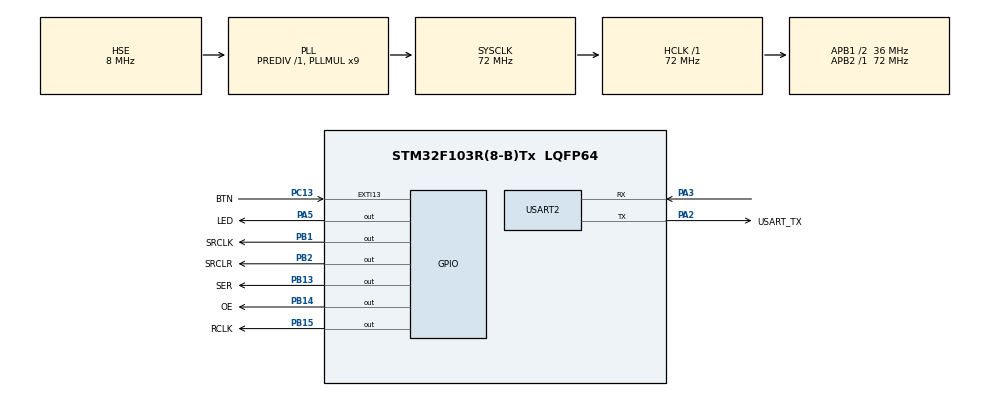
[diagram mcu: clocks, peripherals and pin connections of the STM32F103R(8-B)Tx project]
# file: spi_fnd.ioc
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Mcu.Family=STM32F1
Mcu.Name=STM32F103R(8-B)Tx
Mcu.Package=LQFP64
NVIC.EXTI15_10_IRQn=true\:0\:0\:false\:false\:true\:true\:true\:true
NVIC.PriorityGroup=NVIC_PRIORITYGROUP_4
NVIC.USART2_IRQn=true\:0\:0\:false\:false\:true\:true\:true\:true
PA13.GPIO_Label=TMS
PA13.Mode=Serial_Wire
PA13.Signal=SYS_JTMS-SWDIO
PA14.GPIO_Label=TCK
PA14.Mode=Serial_Wire
PA14.Signal=SYS_JTCK-SWCLK
PA2.GPIO_Label=USART_TX
PA2.GPIO_Mode=GPIO_MODE_AF_PP
PA2.GPIO_PuPd=GPIO_NOPULL
PA2.GPIO_Speed=GPIO_SPEED_FREQ_LOW
PA2.Mode=Asynchronous
PA2.Signal=USART2_TX
PA3.Mode=Asynchronous
PA3.Signal=USART2_RX
PA5.GPIO_Label=LED
PA5.GPIO_ModeDefaultOutputPP=GPIO_MODE_OUTPUT_PP
PA5.GPIO_PuPd=GPIO_NOPULL
PA5.GPIO_Speed=GPIO_SPEED_FREQ_LOW
PA5.Signal=GPIO_Output
PB1.GPIO_Label=SRCLK
PB1.Signal=GPIO_Output
PB13.GPIO_Label=SER
PB13.Signal=GPIO_Output
PB14.GPIO_Label=OE
PB14.PinState=GPIO_PIN_RESET
PB14.Signal=GPIO_Output
PB15.GPIO_Label=RCLK
PB15.PinState=GPIO_PIN_RESET
PB15.Signal=GPIO_Output
PB2.GPIO_Label=SRCLR
PB2.PinState=GPIO_PIN_SET
PB2.Signal=GPIO_Output
PB3.GPIO_Label=SWO
PB3.Signal=SYS_JTDO-TRACESWO
PC13-TAMPER-RTC.GPIO_Label=BTN
PC13-TAMPER-RTC.GPIO_PuPd=GPIO_NOPULL
PC13-TAMPER-RTC.Signal=GPXTI13
PC14-OSC32_IN.Signal=RCC_OSC32_IN
PC15-OSC32_OUT.Signal=RCC_OSC32_OUT
PD0-OSC_IN.Mode=HSE-External-Oscillator
PD0-OSC_IN.Signal=RCC_OSC_IN
PD1-OSC_OUT.Mode=HSE-External-Oscillator
PD1-OSC_OUT.Signal=RCC_OSC_OUT
ProjectManager.HeapSize=0x200
ProjectManager.StackSize=0x400
ProjectManager.TargetToolchain=STM32CubeIDE
RCC.AHBFreq_Value=72000000
RCC.APB1CLKDivider=RCC_HCLK_DIV2
RCC.APB1Freq_Value=36000000
RCC.APB1TimFreq_Value=72000000
RCC.APB2Freq_Value=72000000
RCC.APB2TimFreq_Value=72000000
RCC.HCLKFreq_Value=72000000
RCC.PLLMUL=RCC_PLL_MUL9
RCC.PLLSourceVirtual=RCC_PLLSOURCE_HSE
RCC.PREFETCH_ENABLE=1
RCC.RTCClockSelection=RCC_RTCCLKSOURCE_LSE
RCC.SYSCLKFreq_VALUE=72000000
RCC.SYSCLKSource=RCC_SYSCLKSOURCE_PLLCLK
RCC.USBFreq_Value=72000000
USART2.VirtualMode=VM_ASYNC
board=NUCLEO-F103RB

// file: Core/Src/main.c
/* USER CODE BEGIN Header */
/**
  ******************************************************************************
  * @file           : main.c
  * @brief          : Main program body
  ******************************************************************************
  * @attention
  *
  * Copyright (c) 2025 STMicroelectronics.
  * All rights reserved.
  *
  * This software is licensed under terms that can be found in the LICENSE file
  * in the root directory of this software component.
  * If no LICENSE file comes with this software, it is provided AS-IS.
  *
  ******************************************************************************
  */
/* USER CODE END Header */
#include "main.h"

UART_HandleTypeDef huart2;

/* USER CODE BEGIN PV */
static const uint8_t digitCode[10] = {
  0x3F, // 0
  0x06, // 1
  0x5B, // 2
  0x4F, // 3
  0x66, // 4
  0x6D, // 5
  0x7D, // 6
  0x07, // 7
  0x7F, // 8
  0x6F  // 9
};
/* USER CODE END PV */

void SystemClock_Config(void);
static void MX_GPIO_Init(void);
static void MX_USART2_UART_Init(void);
/* USER CODE BEGIN PFP */
void ShiftReg_Write(uint8_t data);
/* USER CODE END PFP */

int main(void)
{

  /* MCU Configuration--------------------------------------------------------*/

  /* Reset of all peripherals, Initializes the Flash interface and the Systick. */
  HAL_Init();

  /* Configure the system clock */
  SystemClock_Config();

  /* Initialize all configured peripherals */
  MX_GPIO_Init();
  MX_USART2_UART_Init();
  /* USER CODE BEGIN 2 */
  HAL_GPIO_WritePin(OE_GPIO_Port, OE_Pin, GPIO_PIN_RESET);
  HAL_GPIO_WritePin(SRCLR_GPIO_Port, SRCLR_Pin, GPIO_PIN_SET);
  /* USER CODE END 2 */

  /* Infinite loop */
  while (1)
  {
	  for (uint8_t num = 0; num < 10; num++)
	  {
		  ShiftReg_Write(digitCode[num]);
		  HAL_Delay(500);
	  }
  }
}

void SystemClock_Config(void)
{
  RCC_OscInitTypeDef RCC_OscInitStruct = {0};
  RCC_ClkInitTypeDef RCC_ClkInitStruct = {0};

  /** Initializes the RCC Oscillators according to the specified parameters
  * in the RCC_OscInitTypeDef structure.
  */
  RCC_OscInitStruct.OscillatorType = RCC_OSCILLATORTYPE_HSE;
  RCC_OscInitStruct.HSEState = RCC_HSE_ON;
  RCC_OscInitStruct.HSEPredivValue = RCC_HSE_PREDIV_DIV1;
  RCC_OscInitStruct.HSIState = RCC_HSI_ON;
  RCC_OscInitStruct.PLL.PLLState = RCC_PLL_ON;
  RCC_OscInitStruct.PLL.PLLSource = RCC_PLLSOURCE_HSE;
  RCC_OscInitStruct.PLL.PLLMUL = RCC_PLL_MUL9;
  if (HAL_RCC_OscConfig(&RCC_OscInitStruct) != HAL_OK)
  {
    Error_Handler();
  }

  /** Initializes the CPU, AHB and APB buses clocks
  */
  RCC_ClkInitStruct.ClockType = RCC_CLOCKTYPE_HCLK|RCC_CLOCKTYPE_SYSCLK
                              |RCC_CLOCKTYPE_PCLK1|RCC_CLOCKTYPE_PCLK2;
  RCC_ClkInitStruct.SYSCLKSource = RCC_SYSCLKSOURCE_PLLCLK;
  RCC_ClkInitStruct.AHBCLKDivider = RCC_SYSCLK_DIV1;
  RCC_ClkInitStruct.APB1CLKDivider = RCC_HCLK_DIV2;
  RCC_ClkInitStruct.APB2CLKDivider = RCC_HCLK_DIV1;

  if (HAL_RCC_ClockConfig(&RCC_ClkInitStruct, FLASH_LATENCY_2) != HAL_OK)
  {
    Error_Handler();
  }
}

static void MX_USART2_UART_Init(void)
{

  huart2.Instance = USART2;
  huart2.Init.BaudRate = 115200;
  huart2.Init.WordLength = UART_WORDLENGTH_8B;
  huart2.Init.StopBits = UART_STOPBITS_1;
  huart2.Init.Parity = UART_PARITY_NONE;
  huart2.Init.Mode = UART_MODE_TX_RX;
  huart2.Init.HwFlowCtl = UART_HWCONTROL_NONE;
  huart2.Init.OverSampling = UART_OVERSAMPLING_16;
  if (HAL_UART_Init(&huart2) != HAL_OK)
  {
    Error_Handler();
  }

}

static void MX_GPIO_Init(void)
{
  GPIO_InitTypeDef GPIO_InitStruct = {0};

  /* GPIO Ports Clock Enable */
  __HAL_RCC_GPIOC_CLK_ENABLE();
  __HAL_RCC_GPIOD_CLK_ENABLE();
  __HAL_RCC_GPIOA_CLK_ENABLE();
  __HAL_RCC_GPIOB_CLK_ENABLE();

  /*Configure GPIO pin Output Level */
  HAL_GPIO_WritePin(LED_GPIO_Port, LED_Pin, GPIO_PIN_RESET);

  /*Configure GPIO pin Output Level */
  HAL_GPIO_WritePin(GPIOB, SRCLK_Pin|SER_Pin|OE_Pin|RCLK_Pin, GPIO_PIN_RESET);

  /*Configure GPIO pin Output Level */
  HAL_GPIO_WritePin(SRCLR_GPIO_Port, SRCLR_Pin, GPIO_PIN_SET);

  /*Configure GPIO pin : BTN_Pin */
  GPIO_InitStruct.Pin = BTN_Pin;
  GPIO_InitStruct.Mode = GPIO_MODE_IT_RISING;
  GPIO_InitStruct.Pull = GPIO_NOPULL;
  HAL_GPIO_Init(BTN_GPIO_Port, &GPIO_InitStruct);

  /*Configure GPIO pin : LED_Pin */
  GPIO_InitStruct.Pin = LED_Pin;
  GPIO_InitStruct.Mode = GPIO_MODE_OUTPUT_PP;
  GPIO_InitStruct.Pull = GPIO_NOPULL;
  GPIO_InitStruct.Speed = GPIO_SPEED_FREQ_LOW;
  HAL_GPIO_Init(LED_GPIO_Port, &GPIO_InitStruct);

  /*Configure GPIO pins : SRCLK_Pin SRCLR_Pin SER_Pin OE_Pin
                           RCLK_Pin */
  GPIO_InitStruct.Pin = SRCLK_Pin|SRCLR_Pin|SER_Pin|OE_Pin
                          |RCLK_Pin;
  GPIO_InitStruct.Mode = GPIO_MODE_OUTPUT_PP;
  GPIO_InitStruct.Pull = GPIO_NOPULL;
  GPIO_InitStruct.Speed = GPIO_SPEED_FREQ_LOW;
  HAL_GPIO_Init(GPIOB, &GPIO_InitStruct);

  /* EXTI interrupt init*/
  HAL_NVIC_SetPriority(EXTI15_10_IRQn, 0, 0);
  HAL_NVIC_EnableIRQ(EXTI15_10_IRQn);

}

/* USER CODE BEGIN 4 */
void ShiftReg_Write(uint8_t data)
{
  for (int8_t bit = 7; bit >= 0; bit--)
  {
    HAL_GPIO_WritePin(SER_GPIO_Port, SER_Pin,
      (data & (1 << bit)) ? GPIO_PIN_SET : GPIO_PIN_RESET);

    /* Shift clock */
    HAL_GPIO_WritePin(SRCLK_GPIO_Port, SRCLK_Pin, GPIO_PIN_SET);
    HAL_GPIO_WritePin(SRCLK_GPIO_Port, SRCLK_Pin, GPIO_PIN_RESET);
  }
  /* Latch */
  HAL_GPIO_WritePin(RCLK_GPIO_Port, RCLK_Pin, GPIO_PIN_SET);
  HAL_GPIO_WritePin(RCLK_GPIO_Port, RCLK_Pin, GPIO_PIN_RESET);
}
/* USER CODE END 4 */

void Error_Handler(void)
{
  __disable_irq();
  while (1)
  {
  }
}
